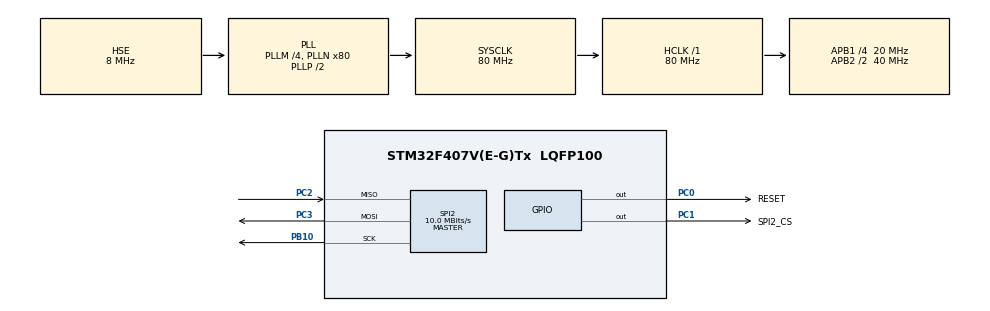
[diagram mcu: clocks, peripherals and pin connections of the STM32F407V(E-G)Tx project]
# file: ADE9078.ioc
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Mcu.Family=STM32F4
Mcu.Name=STM32F407V(E-G)Tx
Mcu.Package=LQFP100
NVIC.PriorityGroup=NVIC_PRIORITYGROUP_0
NVIC.RCC_IRQn=true\:0\:0\:false\:false\:true\:true\:false\:true
PB10.Mode=Full_Duplex_Master
PB10.Signal=SPI2_SCK
PC0.GPIO_Label=RESET
PC0.Signal=GPIO_Output
PC1.GPIO_Label=SPI2_CS
PC1.Signal=GPIO_Output
PC2.Mode=Full_Duplex_Master
PC2.Signal=SPI2_MISO
PC3.Mode=Full_Duplex_Master
PC3.Signal=SPI2_MOSI
PH0-OSC_IN.Mode=HSE-External-Oscillator
PH0-OSC_IN.Signal=RCC_OSC_IN
PH1-OSC_OUT.Mode=HSE-External-Oscillator
PH1-OSC_OUT.Signal=RCC_OSC_OUT
ProjectManager.HeapSize=0x200
ProjectManager.StackSize=0x400
ProjectManager.TargetToolchain=STM32CubeIDE
RCC.48MHZClocksFreq_Value=22857142.85714286
RCC.AHBFreq_Value=80000000
RCC.APB1CLKDivider=RCC_HCLK_DIV4
RCC.APB1Freq_Value=20000000
RCC.APB1TimFreq_Value=40000000
RCC.APB2CLKDivider=RCC_HCLK_DIV2
RCC.APB2Freq_Value=40000000
RCC.APB2TimFreq_Value=80000000
RCC.CortexFreq_Value=80000000
RCC.HCLKFreq_Value=80000000
RCC.HSE_VALUE=8000000
RCC.HSI_VALUE=16000000
RCC.LSE_VALUE=32768
RCC.PLLM=4
RCC.PLLN=80
RCC.PLLQ=7
RCC.PLLSourceVirtual=RCC_PLLSOURCE_HSE
RCC.SYSCLKFreq_VALUE=80000000
RCC.SYSCLKSource=RCC_SYSCLKSOURCE_PLLCLK
RCC.VCOOutputFreq_Value=160000000
SPI2.BaudRatePrescaler=SPI_BAUDRATEPRESCALER_2
SPI2.CLKPhase=SPI_PHASE_2EDGE
SPI2.CLKPolarity=SPI_POLARITY_HIGH
SPI2.CalculateBaudRate=10.0 MBits/s
SPI2.DataSize=SPI_DATASIZE_8BIT
SPI2.Direction=SPI_DIRECTION_2LINES
SPI2.Mode=SPI_MODE_MASTER
SPI2.VirtualType=VM_MASTER
board=STM32F407G-DISC1

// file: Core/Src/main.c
/* USER CODE BEGIN Header */
/**
  ******************************************************************************
  * @file           : main.c
  * @brief          : Main program body
  ******************************************************************************
  * @attention
  *
  * Copyright (c) 2025 STMicroelectronics.
  * All rights reserved.
  *
  * This software is licensed under terms that can be found in the LICENSE file
  * in the root directory of this software component.
  * If no LICENSE file comes with this software, it is provided AS-IS.
  *
  ******************************************************************************
  */
/* USER CODE END Header */
#include "main.h"
#include "spi.h"
#include "gpio.h"
#include <stdbool.h>
/* USER CODE BEGIN Includes */
#include "ade9078.h"

uint16_t ADE_version=0;
double AVrms=0.0f;
double BVrms=0.0f;
double CVrms=0.0f;
double AFreq=0.0f;
double angleab=0.0f;
double anglebc=0.0f;
double angleac=0.0f;
uint32_t raw_angleab=0,raw_anglebc=0,raw_angleac=0;
static Current_X Ix;
static CurrentRMSRegs XIrms;
AngleRegs_xx_xx raw_angle;
Angle_xx_xx angle;
Power_Factor_Regx raw_pf;
Power_Factorx pfx;
static Line_period_Regs period_x;
Active_pow_Regs raw_apow;
Reactive_pow_Regs raw_rpow={0};
Apparent_pow_Reg raw_appow={0};
static Apparent_pow  appow={0};
static Active_pow apow={0};
static Reactive_pow rpow={0};
uint32_t status_var=0;
bool phase_err=0;
bool DREADY=0;
Freq_X  LF;
/* USER CODE END Includes */

/* USER CODE BEGIN PTD */
uint32_t a;
/* USER CODE END PTD */

void SystemClock_Config(void);

int main(void)
{

  /* USER CODE BEGIN 1 */

	uint32_t outbuffer=0;
  /* USER CODE END 1 */

  /* MCU Configuration--------------------------------------------------------*/

  /* Reset of all peripherals, Initializes the Flash interface and the Systick. */

	HAL_Init();

  /* Configure the system clock */
  SystemClock_Config();

  /* Initialize all configured peripherals */
  MX_GPIO_Init();
  MX_SPI2_Init();
  /* USER CODE BEGIN 2 */

  HAL_Delay(10);
  RESET_LOW;
  HAL_Delay(10);
  RESET_HIGH;
  HAL_Delay(10);
  CS_HIGH;
  HAL_Delay(100);
  uint32_t data=0x01;

  //RSTDONE interrupt indicates that the  ade has finished its power up sequence

  while(!RSTDONE());//set =finished its power up sequence
  ADE_version=get_version();
  while(ADE_version!=ADE_ID);//if ADE_ID is mismatch check spi transition check PM0 and PM1 pin is pull down

  ADE9078_wright_Regs_Data(AVGAIN_32,0x00000000 ,BYTE_32);//set volA channel gain to 1
  ADE9078_read_Regs_Data(AVGAIN_32,&outbuffer ,BYTE_32);
  ADE9078_wright_Regs_Data(AIGAIN_32,0x00000000 ,BYTE_32);//set currentA channel to 1
  ADE9078_read_Regs_Data(AIGAIN_32,&outbuffer ,BYTE_32);
  ADE9078_wright_Regs_Data(CONFIG1_16,(3<<2) ,BYTE_16);//CF4 pin output as DREADY
  ADE9078_read_Regs_Data(CONFIG1_16,&outbuffer ,BYTE_16);
//  ADE9078_wright_Regs_Data(CONFIG0_32,(1<<6) ,BYTE_32);//data going into the zero-crossing detection circuit come before the other component(hpf,integrater,phase compensation
//  ADE9078_read_Regs_Data(AIGAIN_32,&outbuffer ,BYTE_32);
//  ADE9078_wright_Regs_Data(ZX_LP_SEL_16,0x00000000 ,BYTE_16);//Line period measurement from phase A voltage
//  ADE9078_read_Regs_Data(ZX_LP_SEL_16,&outbuffer ,BYTE_16);
//  ADE9078_wright_Regs_Data(ACCMODE_16,(1<<8) ,BYTE_16);
//  ADE9078_read_Regs_Data(ACCMODE_16,&outbuffer ,BYTE_16);
  ADE9078_wright_Regs_Data(RUN_16,data ,BYTE_16);//run ade for mesurement
  ADE9078_read_Regs_Data(RUN_16,&outbuffer ,BYTE_16);

  /* USER CODE END 2 */

  /* Infinite loop */
  /* USER CODE BEGIN WHILE */

  while (1)
  {
	  HAL_Delay(100);
	  AVrms=getAVrms();
	  HAL_Delay(100);
	  BVrms=getBVrms();
	  HAL_Delay(100);
	  CVrms=getCVrms();
	  HAL_Delay(100);

	  ReadCurrentRMSRegs(&XIrms);//read RMS value
	  Ix=ReadCT(&XIrms);//read RMS current

	  //

//
//	  ReadFrequencyRegs(&period_x);//read frequency value
//	  LF=ReadFrequency(&period_x);//line frequency

//	  ADE9078_read_Regs_Data(STATUS0_32,&status_var ,BYTE_32);
//	  DREADY=(status_var>>15)&0x1;
////	  while(!DREADY);
//	  phase_err=(status_var>>18)&0x1;

	  ReadAngleRegs(&raw_angle);
	  angle=ReadAngle(&raw_angle);

//
//
	  ReadActivePowerReg(&raw_apow);
	  apow=ReadActivePower(&raw_apow);

//	  ReadReactivePowerReg(&raw_rpow);
//	  rpow=ReadReactivePower(&raw_rpow);
//
//	  ReadApparentPowerReg(&raw_appow);
//	  appow=ReadApparentPower(&raw_appow);
//
	  ReadPowerFactorReg(&raw_pf);//highest power factor 1 =0x07FFFFFF and -1=0xf8000000

	  pfx=ReadPowerFactor(&raw_pf);

//	  HAL_Delay(1000);
  }
}
void SystemClock_Config(void)
{
  RCC_OscInitTypeDef RCC_OscInitStruct = {0};
  RCC_ClkInitTypeDef RCC_ClkInitStruct = {0};

  /** Configure the main internal regulator output voltage
  */
  __HAL_RCC_PWR_CLK_ENABLE();
  __HAL_PWR_VOLTAGESCALING_CONFIG(PWR_REGULATOR_VOLTAGE_SCALE1);

  /** Initializes the RCC Oscillators according to the specified parameters
  * in the RCC_OscInitTypeDef structure.
  */
  RCC_OscInitStruct.OscillatorType = RCC_OSCILLATORTYPE_HSE;
  RCC_OscInitStruct.HSEState = RCC_HSE_ON;
  RCC_OscInitStruct.PLL.PLLState = RCC_PLL_ON;
  RCC_OscInitStruct.PLL.PLLSource = RCC_PLLSOURCE_HSE;
  RCC_OscInitStruct.PLL.PLLM = 4;
  RCC_OscInitStruct.PLL.PLLN = 80;
  RCC_OscInitStruct.PLL.PLLP = RCC_PLLP_DIV2;
  RCC_OscInitStruct.PLL.PLLQ = 7;
  if (HAL_RCC_OscConfig(&RCC_OscInitStruct) != HAL_OK)
  {
    Error_Handler();
  }

  /** Initializes the CPU, AHB and APB buses clocks
  */
  RCC_ClkInitStruct.ClockType = RCC_CLOCKTYPE_HCLK|RCC_CLOCKTYPE_SYSCLK
                              |RCC_CLOCKTYPE_PCLK1|RCC_CLOCKTYPE_PCLK2;
  RCC_ClkInitStruct.SYSCLKSource = RCC_SYSCLKSOURCE_PLLCLK;
  RCC_ClkInitStruct.AHBCLKDivider = RCC_SYSCLK_DIV1;
  RCC_ClkInitStruct.APB1CLKDivider = RCC_HCLK_DIV4;
  RCC_ClkInitStruct.APB2CLKDivider = RCC_HCLK_DIV2;

  if (HAL_RCC_ClockConfig(&RCC_ClkInitStruct, FLASH_LATENCY_2) != HAL_OK)
  {
    Error_Handler();
  }
}

void Error_Handler(void)
{
  __disable_irq();
  while (1)
  {
  }
}
